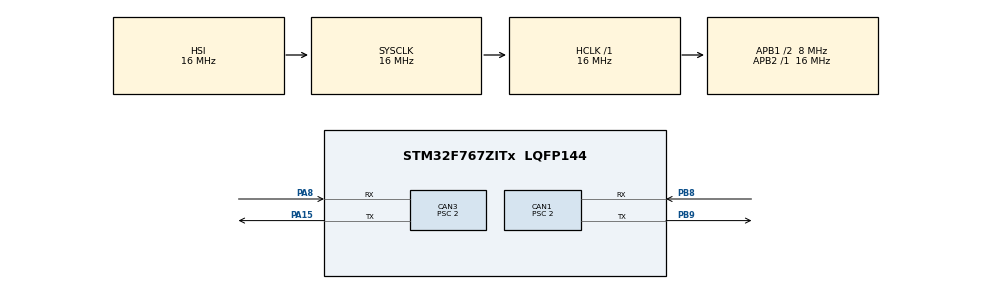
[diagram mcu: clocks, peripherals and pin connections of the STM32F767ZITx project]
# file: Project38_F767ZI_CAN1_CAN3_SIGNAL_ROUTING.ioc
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CAN1.BS1=CAN_BS1_13TQ
CAN1.BS2=CAN_BS2_2TQ
CAN1.CalculateBaudRate=250000
CAN1.CalculateTimeBit=4000.00
CAN1.CalculateTimeQuantum=250.0
CAN1.Prescaler=2
CAN3.BS1=CAN_BS1_13TQ
CAN3.BS2=CAN_BS2_2TQ
CAN3.CalculateBaudRate=250000
CAN3.CalculateTimeBit=4000.00
CAN3.CalculateTimeQuantum=250.0
CAN3.Prescaler=2
Mcu.Family=STM32F7
Mcu.Name=STM32F767ZITx
Mcu.Package=LQFP144
NVIC.CAN1_RX0_IRQn=true\:0\:0\:false\:false\:true\:true\:true
NVIC.CAN3_RX0_IRQn=true\:0\:0\:false\:false\:true\:true\:true
NVIC.PriorityGroup=NVIC_PRIORITYGROUP_4
PA15.Mode=CAN_Activate
PA15.Signal=CAN3_TX
PA8.Mode=CAN_Activate
PA8.Signal=CAN3_RX
PB8.Mode=CAN_Activate
PB8.Signal=CAN1_RX
PB9.Mode=CAN_Activate
PB9.Signal=CAN1_TX
PH0/OSC_IN.Mode=HSE-External-Oscillator
PH0/OSC_IN.Signal=RCC_OSC_IN
PH1/OSC_OUT.Mode=HSE-External-Oscillator
PH1/OSC_OUT.Signal=RCC_OSC_OUT
ProjectManager.HeapSize=0x200
ProjectManager.StackSize=0x400
ProjectManager.TargetToolchain=EWARM V8.32
RCC.48MHZClocksFreq_Value=24000000
RCC.AHBFreq_Value=16000000
RCC.APB1CLKDivider=RCC_HCLK_DIV2
RCC.APB1Freq_Value=8000000
RCC.APB1TimFreq_Value=16000000
RCC.APB2Freq_Value=16000000
RCC.APB2TimFreq_Value=16000000
RCC.CortexFreq_Value=16000000
RCC.HCLKFreq_Value=16000000
RCC.HSE_VALUE=16000000
RCC.HSI_VALUE=16000000
RCC.LSE_VALUE=32768
RCC.PLLMUL=RCC_PLL_MUL9
RCC.PRESCALERUSB=RCC_USBCLKSOURCE_PLL_DIV1_5
RCC.SYSCLKFreq_VALUE=16000000
RCC.SYSCLKSourceVirtual=RCC_SYSCLKSOURCE_PLLCLK
RCC.USBFreq_Value=96000000
RCC.VCOOutputFreq_Value=192000000
board=NUCLEO-F767ZI

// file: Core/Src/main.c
/* USER CODE BEGIN Header */
/**
  ******************************************************************************
  * @file           : main.c
  * @brief          : Main program body
  ******************************************************************************
  * @attention
  *
  * <h2><center>&copy; Copyright (c) 2021 STMicroelectronics.
  * All rights reserved.</center></h2>
  *
  * This software component is licensed by ST under BSD 3-Clause license,
  * the "License"; You may not use this file except in compliance with the
  * License. You may obtain a copy of the License at:
  *                        opensource.org/licenses/BSD-3-Clause
  *
  ******************************************************************************
  */
/* USER CODE END Header */
#include "main.h"

CAN_HandleTypeDef hcan1;
CAN_HandleTypeDef hcan3;

/* USER CODE BEGIN PV */
CAN_HandleTypeDef hcan1;
CAN_TxHeaderTypeDef pTxHeader;
CAN_TxHeaderTypeDef pTxHeaderSergiu;
CAN_TxHeaderTypeDef pTxHeaderAndrei;
CAN_RxHeaderTypeDef pRxHeader;
uint32_t pTxMailbox;
uint8_t a[]={0, 0, 0, 0, 0, 0, 0, 0};
uint8_t r[8];
uint8_t messageFromSergiu[8];
uint8_t checkKeyFromSergiu;
uint8_t messageFromAndrei[8];
CAN_FilterTypeDef sFilterConfig;

CAN_HandleTypeDef hcan3;
CAN_TxHeaderTypeDef pTx3Header;
CAN_TxHeaderTypeDef pTxHeaderBolaj;
CAN_TxHeaderTypeDef pTxHeaderNico;
CAN_TxHeaderTypeDef pTxHeaderIulia;
CAN_RxHeaderTypeDef pRx3Header;
uint32_t pTx3Mailbox;
uint8_t a3[]={0, 0, 0, 0, 0, 0, 0, 0};
uint8_t r3[8];
uint8_t messageFromBolaj[8];
uint8_t messageFromNico[8];
uint8_t messageFromIulia[8];
CAN_FilterTypeDef s3FilterConfig;
/* USER CODE END PV */

void SystemClock_Config(void);
static void MX_GPIO_Init(void);
static void MX_CAN1_Init(void);
static void MX_CAN3_Init(void);

int main(void)
{

  /* MCU Configuration--------------------------------------------------------*/

  /* Reset of all peripherals, Initializes the Flash interface and the Systick. */
  HAL_Init();

  /* Configure the system clock */
  SystemClock_Config();

  /* Initialize all configured peripherals */
  MX_GPIO_Init();
  MX_CAN1_Init();
  MX_CAN3_Init();
  /* USER CODE BEGIN 2 */
pTxHeader.DLC = 8;
pTxHeader.IDE = CAN_ID_STD;
pTxHeader.RTR = CAN_RTR_DATA;
pTxHeader.StdId = 0x18;

pTxHeaderSergiu.DLC = 8;
pTxHeaderSergiu.IDE = CAN_ID_STD;
pTxHeaderSergiu.RTR = CAN_RTR_DATA;
pTxHeaderSergiu.StdId = 0x60;

pTxHeaderAndrei.DLC = 8;
pTxHeaderAndrei.IDE = CAN_ID_STD;
pTxHeaderAndrei.RTR = CAN_RTR_DATA;
pTxHeaderAndrei.StdId = 0x73;

sFilterConfig.FilterFIFOAssignment = CAN_FILTER_FIFO0;
sFilterConfig.FilterIdHigh = 0;
sFilterConfig.FilterIdLow = 0;
sFilterConfig.FilterMaskIdHigh = 0;
sFilterConfig.FilterIdLow = 0;
sFilterConfig.FilterScale = CAN_FILTERSCALE_32BIT;
sFilterConfig.FilterActivation = ENABLE;

HAL_CAN_ConfigFilter(&hcan1, &sFilterConfig);

HAL_CAN_Start(&hcan1);
HAL_CAN_ActivateNotification(&hcan1, CAN_IT_RX_FIFO0_MSG_PENDING);

pTx3Header.DLC = 8;
pTx3Header.IDE = CAN_ID_STD;
pTx3Header.RTR = CAN_RTR_DATA;
pTx3Header.StdId = 0x19;

pTxHeaderBolaj.DLC = 8;
pTxHeaderBolaj.IDE = CAN_ID_STD;
pTxHeaderBolaj.RTR = CAN_RTR_DATA;
pTxHeaderBolaj.StdId = 0x11;

pTxHeaderNico.DLC = 8;
pTxHeaderNico.IDE = CAN_ID_STD;
pTxHeaderNico.RTR = CAN_RTR_DATA;
pTxHeaderNico.StdId = 0x21;

pTxHeaderIulia.DLC = 8;
pTxHeaderIulia.IDE = CAN_ID_STD;
pTxHeaderIulia.RTR = CAN_RTR_DATA;
pTxHeaderIulia.StdId = 0x13;

s3FilterConfig.FilterFIFOAssignment = CAN_FILTER_FIFO0;
s3FilterConfig.FilterIdHigh = 0;
s3FilterConfig.FilterIdLow = 0;
s3FilterConfig.FilterMaskIdHigh = 0;
s3FilterConfig.FilterIdLow = 0;
s3FilterConfig.FilterScale = CAN_FILTERSCALE_32BIT;
s3FilterConfig.FilterActivation = ENABLE;

HAL_CAN_ConfigFilter(&hcan3, &s3FilterConfig);

HAL_CAN_Start(&hcan3);
HAL_CAN_ActivateNotification(&hcan3, CAN_IT_RX_FIFO0_MSG_PENDING);
  /* USER CODE END 2 */

  /* Infinite loop */
  /* USER CODE BEGIN WHILE */
  while (1)
  {
    HAL_Delay(1000);
    if(checkKeyFromSergiu == 8){
       HAL_CAN_AddTxMessage(&hcan1, &pTxHeaderBolaj, messageFromBolaj, &pTxMailbox);
       HAL_CAN_AddTxMessage(&hcan3, &pTxHeaderAndrei, messageFromAndrei, &pTx3Mailbox);
       HAL_CAN_AddTxMessage(&hcan1, &pTxHeaderSergiu, messageFromSergiu, &pTxMailbox);
    }
    //for(int i=0;i<8;i++){a[i]++; a3[i]++;}

   // HAL_CAN_AddTxMessage(&hcan1, &pTxHeader, a, &pTxMailbox);
   // HAL_CAN_AddTxMessage(&hcan3, &pTx3Header, a3, &pTx3Mailbox);
    /* USER CODE END WHILE */

  }
}

void SystemClock_Config(void)
{
  RCC_OscInitTypeDef RCC_OscInitStruct = {0};
  RCC_ClkInitTypeDef RCC_ClkInitStruct = {0};

  /** Configure the main internal regulator output voltage
  */
  __HAL_RCC_PWR_CLK_ENABLE();
  __HAL_PWR_VOLTAGESCALING_CONFIG(PWR_REGULATOR_VOLTAGE_SCALE3);
  /** Initializes the RCC Oscillators according to the specified parameters
  * in the RCC_OscInitTypeDef structure.
  */
  RCC_OscInitStruct.OscillatorType = RCC_OSCILLATORTYPE_HSI;
  RCC_OscInitStruct.HSIState = RCC_HSI_ON;
  RCC_OscInitStruct.HSICalibrationValue = RCC_HSICALIBRATION_DEFAULT;
  RCC_OscInitStruct.PLL.PLLState = RCC_PLL_NONE;
  if (HAL_RCC_OscConfig(&RCC_OscInitStruct) != HAL_OK)
  {
    Error_Handler();
  }
  /** Initializes the CPU, AHB and APB buses clocks
  */
  RCC_ClkInitStruct.ClockType = RCC_CLOCKTYPE_HCLK|RCC_CLOCKTYPE_SYSCLK
                              |RCC_CLOCKTYPE_PCLK1|RCC_CLOCKTYPE_PCLK2;
  RCC_ClkInitStruct.SYSCLKSource = RCC_SYSCLKSOURCE_HSI;
  RCC_ClkInitStruct.AHBCLKDivider = RCC_SYSCLK_DIV1;
  RCC_ClkInitStruct.APB1CLKDivider = RCC_HCLK_DIV2;
  RCC_ClkInitStruct.APB2CLKDivider = RCC_HCLK_DIV1;

  if (HAL_RCC_ClockConfig(&RCC_ClkInitStruct, FLASH_LATENCY_0) != HAL_OK)
  {
    Error_Handler();
  }
}

static void MX_CAN1_Init(void)
{

  hcan1.Instance = CAN1;
  hcan1.Init.Prescaler = 2;
  hcan1.Init.Mode = CAN_MODE_NORMAL;
  hcan1.Init.SyncJumpWidth = CAN_SJW_1TQ;
  hcan1.Init.TimeSeg1 = CAN_BS1_13TQ;
  hcan1.Init.TimeSeg2 = CAN_BS2_2TQ;
  hcan1.Init.TimeTriggeredMode = DISABLE;
  hcan1.Init.AutoBusOff = DISABLE;
  hcan1.Init.AutoWakeUp = DISABLE;
  hcan1.Init.AutoRetransmission = DISABLE;
  hcan1.Init.ReceiveFifoLocked = DISABLE;
  hcan1.Init.TransmitFifoPriority = DISABLE;
  if (HAL_CAN_Init(&hcan1) != HAL_OK)
  {
    Error_Handler();
  }

}

static void MX_CAN3_Init(void)
{

  hcan3.Instance = CAN3;
  hcan3.Init.Prescaler = 2;
  hcan3.Init.Mode = CAN_MODE_NORMAL;
  hcan3.Init.SyncJumpWidth = CAN_SJW_1TQ;
  hcan3.Init.TimeSeg1 = CAN_BS1_13TQ;
  hcan3.Init.TimeSeg2 = CAN_BS2_2TQ;
  hcan3.Init.TimeTriggeredMode = DISABLE;
  hcan3.Init.AutoBusOff = DISABLE;
  hcan3.Init.AutoWakeUp = DISABLE;
  hcan3.Init.AutoRetransmission = DISABLE;
  hcan3.Init.ReceiveFifoLocked = DISABLE;
  hcan3.Init.TransmitFifoPriority = DISABLE;
  if (HAL_CAN_Init(&hcan3) != HAL_OK)
  {
    Error_Handler();
  }

}

static void MX_GPIO_Init(void)
{

  /* GPIO Ports Clock Enable */
  __HAL_RCC_GPIOH_CLK_ENABLE();
  __HAL_RCC_GPIOA_CLK_ENABLE();
  __HAL_RCC_GPIOB_CLK_ENABLE();

}

void Error_Handler(void)
{
  __disable_irq();
  while (1)
  {
  }
}

/************************ (C) COPYRIGHT STMicroelectronics *****END OF FILE****/
